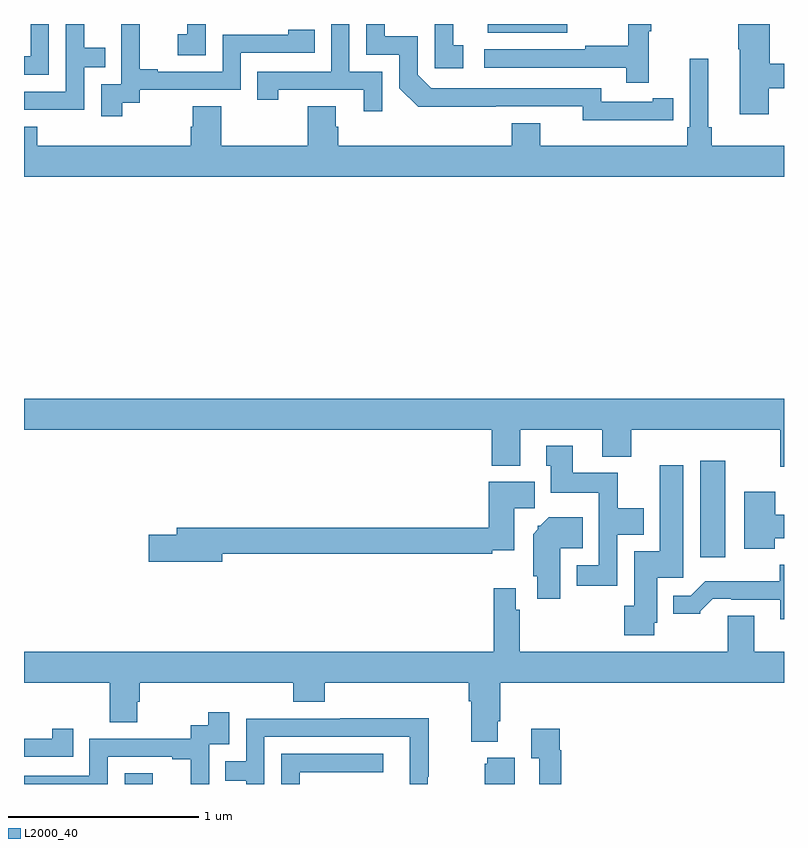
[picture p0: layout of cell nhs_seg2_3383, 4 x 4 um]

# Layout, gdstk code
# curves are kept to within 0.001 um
import gdstk
lib = gdstk.Library(unit=1e-6, precision=1e-09)
def R(c, l, rs):  # rectangles x0, y0, x1, y1
    for r in rs: c.add(gdstk.rectangle(r[:2], r[2:], *l))
def P(c, l, *ps):  # polygons
    for p in ps: c.add(gdstk.Polygon(p, *l))
L2000_40 = (2000, 40)

nhs_seg2_3383 = lib.new_cell('nhs_seg2_3383')
R(nhs_seg2_3383, L2000_40, [(289.53,617.8,289.678,617.857), (292.559,618.993,292.69,619.501), (291.44,621.755,291.859,621.8)])
P(nhs_seg2_3383, L2000_40, [(291.313,621.687),(291.26,621.687),(291.26,621.8),(291.162,621.8),(291.162,621.567),(291.313,621.567)],
  [(289.956,621.8),(289.858,621.8),(289.858,621.745),(289.809,621.745),(289.809,621.636),(289.956,621.636)],
  [(290.886,621.549),(290.712,621.549),(290.712,621.8),(290.616,621.8),(290.616,621.549),(290.227,621.549),(290.227,621.402),(290.338,621.402),(290.338,621.453),(290.789,621.453),(290.789,621.342),(290.886,621.342)],
  [(292.92,621.462),(293,621.462),(293,621.59),(292.925,621.59),(292.925,621.8),(292.759,621.8),(292.759,621.667),(292.766,621.667),(292.766,621.324),(292.92,621.324)],
  [(292.31,621.294),(292.418,621.294),(292.418,621.41),(292.31,621.41),(292.31,621.39),(292.038,621.39),(292.038,621.462),(291.144,621.462),(291.072,621.534),(291.072,621.735),(290.899,621.735),(290.899,621.8),(290.802,621.8),(290.802,621.639),(290.976,621.639),(290.976,621.462),(291.074,621.365),(291.942,621.366),(291.942,621.293)],
  [(292.289,621.763),(292.3,621.763),(292.3,621.8),(292.179,621.8),(292.179,621.686),(291.955,621.686),(291.955,621.666),(291.423,621.666),(291.423,621.57),(292.171,621.57),(292.171,621.492),(292.289,621.492)],
  [(289.317,621.573),(289.427,621.573),(289.427,621.674),(289.317,621.674),(289.317,621.8),(289.221,621.8),(289.221,621.444),(289,621.444),(289,621.348),(289.317,621.348)],
  [(289.516,621.385),(289.608,621.385),(289.608,621.453),(290.142,621.453),(290.142,621.648),(290.531,621.648),(290.531,621.771),(290.391,621.771),(290.391,621.744),(290.046,621.744),(290.046,621.549),(289.705,621.549),(289.705,621.562),(289.61,621.562),(289.61,621.8),(289.511,621.8),(289.511,621.713),(289.512,621.713),(289.512,621.483),(289.407,621.483),(289.407,621.315),(289.516,621.315)],
  [(289.131,621.8),(289.035,621.8),(289.035,621.63),(289,621.63),(289,621.534),(289.131,621.534)],
  [(293,621.16),(292.619,621.16),(292.619,621.256),(292.6,621.256),(292.6,621.616),(292.503,621.616),(292.503,621.256),(292.49,621.256),(292.49,621.16),(291.718,621.16),(291.718,621.277),(291.566,621.277),(291.566,621.16),(290.654,621.16),(290.654,621.258),(290.641,621.258),(290.641,621.368),(290.494,621.368),(290.494,621.16),(290.037,621.16),(290.037,621.368),(289.889,621.368),(289.889,621.258),(289.877,621.258),(289.877,621.16),(289.07,621.16),(289.07,621.259),(289,621.259),(289,620.996),(293,620.996)],
  [(293,619.828),(289,619.828),(289,619.664),(291.461,619.664),(291.461,619.475),(291.613,619.475),(291.613,619.664),(292.043,619.664),(292.043,619.523),(292.196,619.523),(292.196,619.664),(292.979,619.664),(292.979,619.47),(293,619.47)],
  [(292.122,619.112),(292.261,619.112),(292.261,619.252),(292.125,619.252),(292.125,619.438),(291.889,619.438),(291.889,619.579),(291.749,619.579),(291.749,619.476),(291.773,619.476),(291.773,619.334),(292.026,619.334),(292.026,618.951),(291.909,618.951),(291.909,618.843),(292.122,618.843)],
  [(292.317,618.648),(292.333,618.648),(292.333,618.885),(292.471,618.885),(292.471,619.477),(292.346,619.477),(292.346,619.024),(292.211,619.024),(292.211,618.738),(292.16,618.738),(292.16,618.582),(292.317,618.582)],
  [(290.044,619.012),(291.464,619.012),(291.464,619.031),(291.58,619.031),(291.58,619.251),(291.688,619.251),(291.688,619.39),(291.446,619.39),(291.446,619.148),(289.805,619.148),(289.805,619.112),(289.656,619.112),(289.656,618.97),(290.044,618.97)],
  [(292.952,619.094),(293,619.094),(293,619.216),(292.954,619.216),(292.954,619.339),(292.79,619.339),(292.79,619.037),(292.952,619.037)],
  [(291.823,619.04),(291.941,619.04),(291.941,619.204),(291.763,619.204),(291.717,619.158),(291.705,619.158),(291.705,619.14),(291.68,619.115),(291.68,618.894),(291.701,618.894),(291.701,618.774),(291.823,618.774)],
  [(293,618.955),(292.977,618.955),(292.977,618.868),(292.585,618.868),(292.509,618.792),(292.418,618.792),(292.418,618.695),(292.56,618.695),(292.56,618.71),(292.624,618.774),(292.723,618.774),(292.723,618.771),(292.979,618.771),(292.979,618.666),(293,618.666)],
  [(293,618.496),(292.843,618.496),(292.843,618.686),(292.703,618.686),(292.703,618.496),(291.608,618.496),(291.608,618.716),(291.588,618.716),(291.588,618.829),(291.472,618.829),(291.472,618.496),(289,618.496),(289,618.332),(289.45,618.332),(289.45,618.124),(289.597,618.124),(289.597,618.234),(289.61,618.234),(289.61,618.332),(290.417,618.332),(290.417,618.233),(290.582,618.233),(290.582,618.332),(291.341,618.332),(291.341,618.236),(291.353,618.236),(291.353,618.023),(291.493,618.023),(291.493,618.13),(291.506,618.13),(291.506,618.332),(293,618.332)],
  [(289.44,617.943),(289.781,617.943),(289.781,617.931),(289.877,617.931),(289.877,617.8),(289.974,617.8),(289.974,618.009),(290.079,618.009),(290.079,618.178),(289.971,618.178),(289.971,618.108),(289.878,618.108),(289.878,618.039),(289.344,618.039),(289.344,617.844),(289,617.844),(289,617.8),(289.44,617.8)],
  [(290.265,618.048),(291.03,618.048),(291.03,617.8),(291.126,617.8),(291.126,617.839),(291.129,617.839),(291.129,618.146),(290.665,618.146),(290.665,618.144),(290.169,618.144),(290.169,617.919),(290.059,617.919),(290.059,617.818),(290.169,617.818),(290.169,617.8),(290.265,617.8)],
  [(291.827,617.978),(291.82,617.978),(291.82,618.091),(291.671,618.091),(291.671,617.935),(291.711,617.935),(291.711,617.8),(291.827,617.8)],
  [(289.259,618.091),(289.148,618.091),(289.148,618.039),(289,618.039),(289,617.943),(289.259,617.943)],
  [(290.451,617.862),(290.89,617.862),(290.89,617.958),(290.355,617.958),(290.355,617.8),(290.451,617.8)],
  [(291.583,617.938),(291.437,617.938),(291.437,617.907),(291.425,617.907),(291.425,617.8),(291.583,617.8)])

lib.write_gds('nhs_seg2_3383.gds')
